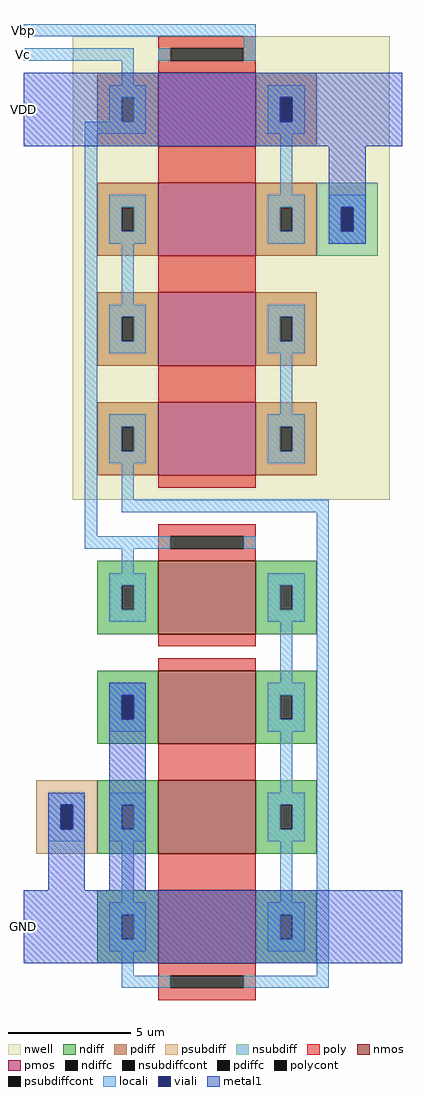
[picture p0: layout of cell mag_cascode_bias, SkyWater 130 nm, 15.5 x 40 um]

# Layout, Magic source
magic
tech sky130A
<< nwell >>
rect -350 1800 950 3700
<< nmos >>
rect 0 1250 400 1550
rect 0 800 400 1100
rect 0 350 400 650
rect 0 -100 400 200
<< pmos >>
rect 0 3250 400 3550
rect 0 2800 400 3100
rect 0 2350 400 2650
rect 0 1900 400 2200
<< ndiff >>
rect -250 1450 0 1550
rect -250 1350 -150 1450
rect -100 1350 0 1450
rect -250 1250 0 1350
rect 400 1450 650 1550
rect 400 1350 500 1450
rect 550 1350 650 1450
rect 400 1250 650 1350
rect -250 1000 0 1100
rect -250 900 -150 1000
rect -100 900 0 1000
rect -250 800 0 900
rect 400 1000 650 1100
rect 400 900 500 1000
rect 550 900 650 1000
rect 400 800 650 900
rect -250 550 0 650
rect -250 450 -150 550
rect -100 450 0 550
rect -250 350 0 450
rect 400 550 650 650
rect 400 450 500 550
rect 550 450 650 550
rect 400 350 650 450
rect -250 100 0 200
rect -250 0 -150 100
rect -100 0 0 100
rect -250 -100 0 0
rect 400 100 650 200
rect 400 0 500 100
rect 550 0 650 100
rect 400 -100 650 0
<< pdiff >>
rect -250 3450 0 3550
rect -250 3350 -150 3450
rect -100 3350 0 3450
rect -250 3250 0 3350
rect 400 3450 650 3550
rect 400 3350 500 3450
rect 550 3350 650 3450
rect 400 3250 650 3350
rect -250 3000 0 3100
rect -250 2900 -150 3000
rect -100 2900 0 3000
rect -250 2800 0 2900
rect 400 3000 650 3100
rect 400 2900 500 3000
rect 550 2900 650 3000
rect 400 2800 650 2900
rect -250 2550 0 2650
rect -250 2450 -150 2550
rect -100 2450 0 2550
rect -250 2350 0 2450
rect 400 2550 650 2650
rect 400 2450 500 2550
rect 550 2450 650 2550
rect 400 2350 650 2450
rect -250 2100 0 2200
rect -250 2000 -150 2100
rect -100 2000 0 2100
rect -250 1900 0 2000
rect 400 2100 650 2200
rect 400 2000 500 2100
rect 550 2000 650 2100
rect 400 1900 650 2000
<< ndiffc >>
rect -150 1350 -100 1450
rect 500 1350 550 1450
rect -150 900 -100 1000
rect 500 900 550 1000
rect -150 450 -100 550
rect 500 450 550 550
rect -150 0 -100 100
rect 500 0 550 100
<< pdiffc >>
rect -150 3350 -100 3450
rect 500 3350 550 3450
rect -150 2900 -100 3000
rect 500 2900 550 3000
rect -150 2450 -100 2550
rect 500 2450 550 2550
rect -150 2000 -100 2100
rect 500 2000 550 2100
<< psubdiff >>
rect -500 550 -250 650
rect -500 450 -400 550
rect -350 450 -250 550
rect -500 350 -250 450
<< nsubdiff >>
rect 650 3000 900 3100
rect 650 2900 750 3000
rect 800 2900 900 3000
rect 650 2800 900 2900
<< psubdiffcont >>
rect -400 450 -350 550
<< nsubdiffcont >>
rect 750 2900 800 3000
<< poly >>
rect 0 3650 400 3700
rect 0 3600 50 3650
rect 350 3600 400 3650
rect 0 3550 400 3600
rect 0 3100 400 3250
rect 0 2650 400 2800
rect 0 2200 400 2350
rect 0 1850 400 1900
rect 0 1650 400 1700
rect 0 1600 50 1650
rect 350 1600 400 1650
rect 0 1550 400 1600
rect 0 1200 400 1250
rect 0 1100 400 1150
rect 0 650 400 800
rect 0 200 400 350
rect 0 -150 400 -100
rect 0 -200 50 -150
rect 350 -200 400 -150
rect 0 -250 400 -200
<< polycont >>
rect 50 3600 350 3650
rect 50 1600 350 1650
rect 50 -200 350 -150
<< locali >>
rect -550 3700 400 3750
rect -550 3600 -100 3650
rect 0 3600 50 3650
rect 350 3600 400 3700
rect -150 3500 -100 3600
rect -200 3450 -50 3500
rect -200 3350 -150 3450
rect -100 3350 -50 3450
rect -300 3300 -50 3350
rect 450 3450 600 3500
rect 450 3350 500 3450
rect 550 3350 600 3450
rect 450 3300 600 3350
rect -300 1650 -250 3300
rect 500 3050 550 3300
rect -200 3000 -50 3050
rect -200 2900 -150 3000
rect -100 2900 -50 3000
rect -200 2850 -50 2900
rect 450 3000 600 3050
rect 450 2900 500 3000
rect 550 2900 600 3000
rect 450 2850 600 2900
rect 700 3000 850 3050
rect 700 2900 750 3000
rect 800 2900 850 3000
rect 700 2850 850 2900
rect -150 2600 -100 2850
rect -200 2550 -50 2600
rect -200 2450 -150 2550
rect -100 2450 -50 2550
rect -200 2400 -50 2450
rect 450 2550 600 2600
rect 450 2450 500 2550
rect 550 2450 600 2550
rect 450 2400 600 2450
rect 500 2150 550 2400
rect -200 2100 -50 2150
rect -200 2000 -150 2100
rect -100 2000 -50 2100
rect -200 1950 -50 2000
rect 450 2100 600 2150
rect 450 2000 500 2100
rect 550 2000 600 2100
rect 450 1950 600 2000
rect -150 1800 -100 1950
rect -150 1750 700 1800
rect -300 1600 50 1650
rect 350 1600 400 1650
rect -150 1500 -100 1600
rect -200 1450 -50 1500
rect -200 1350 -150 1450
rect -100 1350 -50 1450
rect -200 1300 -50 1350
rect 450 1450 600 1500
rect 450 1350 500 1450
rect 550 1350 600 1450
rect 450 1300 600 1350
rect 500 1050 550 1300
rect -200 1000 -50 1050
rect -200 900 -150 1000
rect -100 900 -50 1000
rect -200 850 -50 900
rect 450 1000 600 1050
rect 450 900 500 1000
rect 550 900 600 1000
rect 450 850 600 900
rect 500 600 550 850
rect -450 550 -300 600
rect -450 450 -400 550
rect -350 450 -300 550
rect -450 400 -300 450
rect -200 550 -50 600
rect -200 450 -150 550
rect -100 450 -50 550
rect -200 400 -50 450
rect 450 550 600 600
rect 450 450 500 550
rect 550 450 600 550
rect 450 400 600 450
rect -150 150 -100 400
rect 500 150 550 400
rect -200 100 -50 150
rect -200 0 -150 100
rect -100 0 -50 100
rect -200 -50 -50 0
rect 450 100 600 150
rect 450 0 500 100
rect 550 0 600 100
rect 450 -50 600 0
rect -150 -150 -100 -50
rect 650 -150 700 1750
rect -150 -200 50 -150
rect 350 -200 700 -150
<< viali >>
rect 500 3350 550 3450
rect 750 2900 800 3000
rect -150 900 -100 1000
rect -400 450 -350 550
<< metal1 >>
rect -550 3450 1000 3550
rect -550 3350 500 3450
rect 550 3350 1000 3450
rect -550 3250 1000 3350
rect 700 3000 850 3250
rect 700 2900 750 3000
rect 800 2900 850 3000
rect 700 2850 850 2900
rect -200 1000 -50 1050
rect -200 900 -150 1000
rect -100 900 -50 1000
rect -450 550 -300 600
rect -450 450 -400 550
rect -350 450 -300 550
rect -450 200 -300 450
rect -200 200 -50 900
rect -550 -100 1000 200
<< labels >>
rlabel locali -550 3725 -550 3725 7 Vbp
port 1 w
rlabel metal1 -550 3400 -550 3400 7 VDD
port 2 w
rlabel locali -550 3625 -550 3625 7 Vc
port 3 w
rlabel metal1 -550 50 -550 50 7 GND
port 4 w
<< end >>
